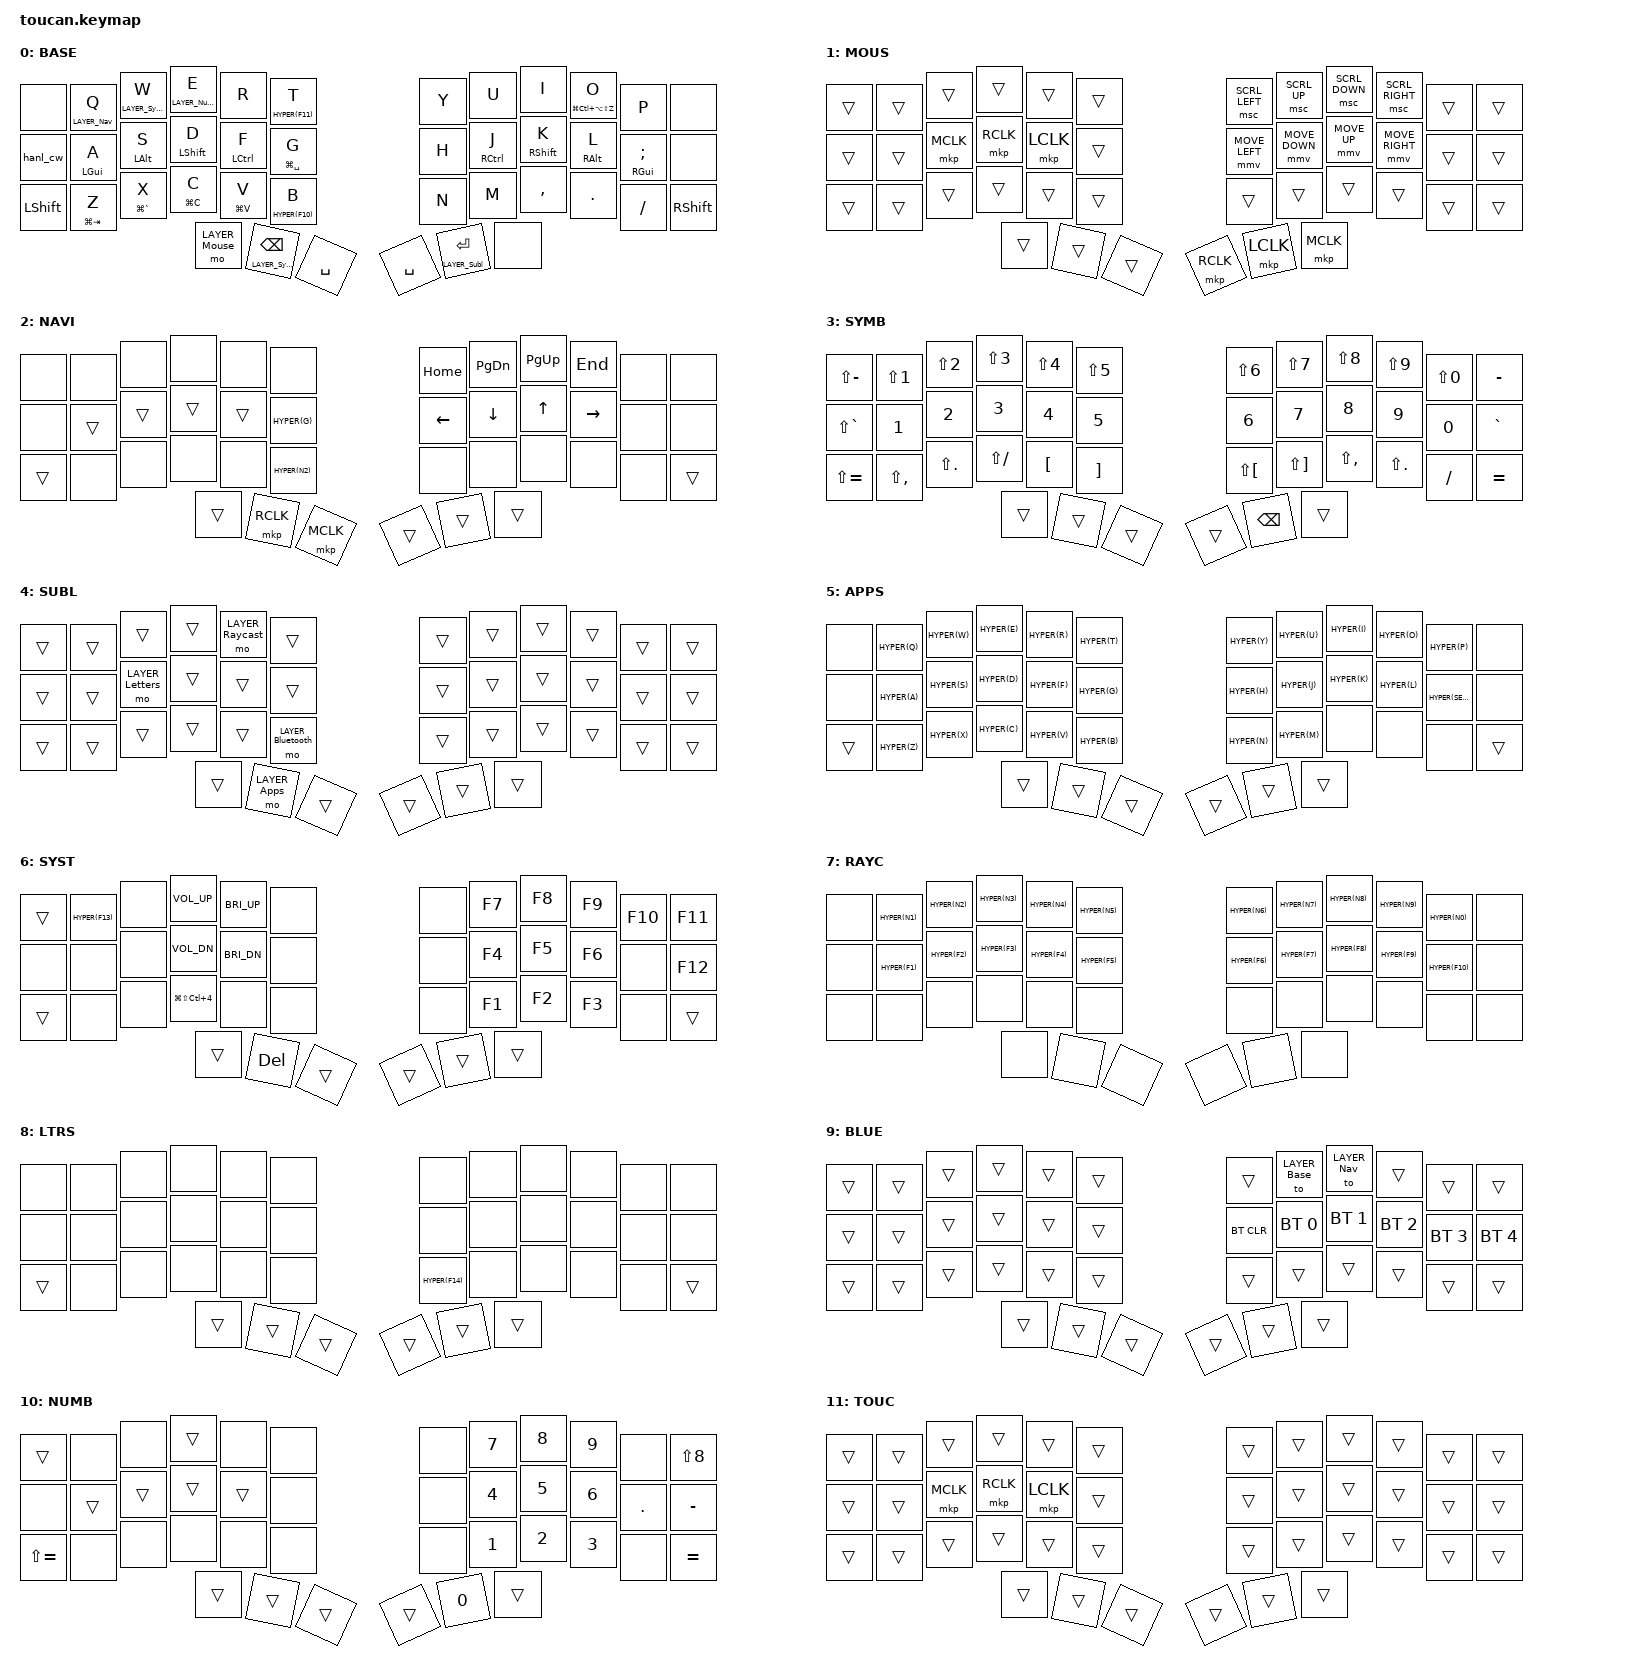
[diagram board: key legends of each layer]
#include <behaviors.dtsi>
#include <dt-bindings/zmk/keys.h>
#include <dt-bindings/zmk/bt.h>
#include <dt-bindings/zmk/outputs.h>

// urob-style key mouse defaults. Must be defined before pointing.h.
#define ZMK_POINTING_DEFAULT_MOVE_VAL 1400  // 포인터 최고 속도 천장(upstream 기본 600에서 상향)
#define ZMK_POINTING_DEFAULT_SCRL_VAL 20

// Adding pointing.h to be able to right and middle click
// https://zmk.dev/docs/keymaps/behaviors/mouse-emulation
#include <dt-bindings/zmk/pointing.h>

// 레이어 인덱스 = keymap{} 안 layer 노드의 물리적 순서. 트랙패드 입력 파이프라인
// 오버라이드는 이 파일 하단에서 LAYER_* define을 그대로 참조하므로(dtsi는 upstream
// pristine), 레이어 순서를 바꿔도 자동 추종된다 — 더 이상 dtsi 동기가 필요 없다.
#define LAYER_Base 0
#define LAYER_Mouse 1
#define LAYER_Nav 2
#define LAYER_Symb 3
#define LAYER_Subl 4
#define LAYER_Apps 5
#define LAYER_Systm 6
#define LAYER_Raycast 7
#define LAYER_Letters 8
#define LAYER_Bluetooth 9
#define LAYER_Numpad 10
#define LAYER_Touch 11   // 트랙패드 접촉 중 자동(is_touching_processor가 &mo로 켬)

// Hyper = Shift + Ctrl + Alt + Cmd 합성 modifier.
// Hammerspoon hyper_actions.lua가 OS-level listener로 받음 (kanata 측도 동일 조합 emit).
#define HYPER(k) LS(LC(LA(LG(k))))

// Home row mod positional (urob 패턴). hold는 반대손·엄지에서만 발동, 같은손
// 키가 뒤따르면 강제 탭(오발 차단). kanata $hrm-lkeys/$hrm-rkeys와 동일 의미.
//
// ZMK는 이 속성에 키 이름을 못 받음 → 위치 인덱스 필수. 인덱스 = Base 레이어
// binding 나열 순서(0~41). 행 단위로 분해해 물리 위치와 대조 가능하게 함:
//   top    L: 0  1  2  3  4  5     R:  6  7  8  9 10 11
//   home   L:12 13 14 15 16 17     R: 18 19 20 21 22 23
//   bottom L:24 25 26 27 28 29     R: 30 31 32 33 34 35
//   thumb  L:36 37 38              R: 39 40 41
#define KEYS_LT  0  1  2  3  4  5
#define KEYS_LH 12 13 14 15 16 17
#define KEYS_LB 24 25 26 27 28 29
#define KEYS_RT  6  7  8  9 10 11
#define KEYS_RH 18 19 20 21 22 23
#define KEYS_RB 30 31 32 33 34 35
#define KEYS_L  KEYS_LT KEYS_LH KEYS_LB
#define KEYS_R  KEYS_RT KEYS_RH KEYS_RB
#define THUMBS  36 37 38 39 40 41

/ {
    behaviors {
        // Home row mods 좌측(a/s/d/f). kanata HRM과 1:1: balanced + tapping-term
        // =$hrm-tap(280) + quick-tap=$hrm-qt(300) + require-prior-idle=$hrm-pi(150)
        // + positional(같은손 강제탭 = $hrm-lkeys). 값 변경 시 mac-common.kbd와 동기.
        hrm_l: hrm_l {
            compatible = "zmk,behavior-hold-tap";
            #binding-cells = <2>;
            flavor = "balanced";
            tapping-term-ms = <280>;
            quick-tap-ms = <300>;
            require-prior-idle-ms = <150>;
            hold-trigger-key-positions = <KEYS_R THUMBS>;
            hold-trigger-on-release;
            bindings = <&kp>, <&kp>;
        };

        // Home row mods 우측(j/k/l/;). kanata HRM과 1:1: balanced + tapping-term
        // =$hrm-tap(280) + quick-tap=$hrm-qt(300) + require-prior-idle=$hrm-pi(150)
        // + positional(같은손 강제탭 = $hrm-rkeys). 값 변경 시 mac-common.kbd와 동기.
        hrm_r: hrm_r {
            compatible = "zmk,behavior-hold-tap";
            #binding-cells = <2>;
            flavor = "balanced";
            tapping-term-ms = <280>;
            quick-tap-ms = <300>;
            require-prior-idle-ms = <150>;
            hold-trigger-key-positions = <KEYS_L THUMBS>;
            hold-trigger-on-release;
            bindings = <&kp>, <&kp>;
        };

        // Homerow Mod for the right pinky - TailorKey (influenced).
        hrm_w: hrm_w {
            compatible = "zmk,behavior-hold-tap";
            #binding-cells = <2>;
            tapping-term-ms = <200>;
            bindings = <&kp>, <&kp>;
            flavor = "tap-preferred";
            quick-tap-ms = <200>;
            require-prior-idle-ms = <0>;
            retro-tap;
        };

        my_mt: my_mt {
            compatible = "zmk,behavior-hold-tap";
            #binding-cells = <2>;
            flavor = "tap-preferred";
            tapping-term-ms = <300>;
            bindings = <&kp>, <&kp>;
        };

        my_lt: my_lt {
            compatible = "zmk,behavior-hold-tap";
            #binding-cells = <2>;
            flavor = "tap-preferred";
            tapping-term-ms = <300>;
            bindings = <&mo>, <&kp>;
        };

        // capslock 키(a 좌측 바깥키): 탭=한/영(Shift+Space emit) / shift+탭=대문자 모드.
        // &caps_word는 지정 키 외를 누르면 스스로 풀리고, shift+탭을 다시 하면 수동 해제된다.
        // #binding-cells=0이라 키맵에서는 인자 없이 &hanl_cw로만 쓴다(인자를 붙이면 빌드 에러).
        //
        // mod-morph는 타이머 없이 현재 모디파이어만 보고 즉시 분기한다 — 탭은 press 즉시 emit.
        // tap-dance를 쓰면 안 되는 이유: 1탭 확정이 미뤄져 Shift+Space가 다음 문자와 거의 동시에
        // 나가고, macOS IME 전환은 비동기라 그 문자가 이전 언어로 입력된다(2026-07-30~08-11 회귀).
        // shift가 caps_word를 해제하지 않는 건 ignore-modifiers 기본값 덕이다 — 끄면 이 분기가 깨진다.
        // kanata @mhanl (fork @mhgul @mcapw (lsft rsft)) 미러.
        hanl_cw: hanl_cw {
            compatible = "zmk,behavior-mod-morph";
            #binding-cells = <0>;
            bindings = <&kp LS(SPACE)>, <&caps_word>;
            mods = <(MOD_LSFT|MOD_RSFT)>;
        };

        my_mtw: my_mtw {
            compatible = "zmk,behavior-hold-tap";
            #binding-cells = <2>;
            flavor = "tap-preferred";
            tapping-term-ms = <200>;
            bindings = <&kp>, <&kp>;
        };

        // hold-tap with `&once` macro on hold: hold emits keycode 1회 (no OS key-repeat); tap is plain &kp.
        // kanata의 (tap-hold ... (macro M-x))와 동등. 사용 syntax는 &my_mt와 동일: &htm <HOLD-ARG> <TAP-ARG>.
        htm: htm {
            compatible = "zmk,behavior-hold-tap";
            #binding-cells = <2>;
            flavor = "tap-preferred";
            tapping-term-ms = <300>;
            bindings = <&once>, <&kp>;
        };

    };
};

/ {

    macros {
        // Once-emit any modifier-encoded keycode via &macro_tap &kp X.
        // 사용 예: &once LG(V) → Cmd+V 1회. &once HYPER(F15) → Hyper+F15 1회.
        // 어떤 modifier 조합(1~4-modifier)이든 단일 매크로로 처리. modifier 늘어도 매크로 추가 불필요.
        once: once {
            label = "ZM_once";
            compatible = "zmk,behavior-macro-one-param";
            #binding-cells = <1>;
            bindings
                = <&macro_param_1to1>
                , <&macro_tap &kp MACRO_PLACEHOLDER>
                ;
        };
    };
};

// Key mouse tuning from urob/zmk-config, excluding NAV/FN layer-dependent
// warp/precision listeners because Toucan has different layer semantics.
&mmv {
    acceleration-exponent = <1>;
    time-to-max-speed-ms = <500>;
    delay-ms = <0>;
};

&msc {
    acceleration-exponent = <0>;
    time-to-max-speed-ms = <300>;
    delay-ms = <0>;
};

// ── 트랙패드 (Azoteq TPS43) ───────────────────────────────────────────────────
// shield의 boards/shields/toucan/toucan.dtsi 노드를 여기서 덮어쓴다 → dtsi는 upstream
// pristine으로 두고 upstream 재머지를 항상 fast-forward로 유지한다.
// dts 결합 순서: board.dts → shield .overlay(+toucan.dtsi) → 이 keymap. 뒤가 이긴다.

&trackpad_listener {
    // upstream의 scroller 자식 노드(레이어 누른 채 드래그=스크롤)를 제거한다.
    //  (1) v2는 하드웨어가 2-finger 스크롤을 직접 내므로 역할이 중복이고,
    //  (2) layer override가 0개여야 is_touching_processor가 안전하다 —
    //      input_listener.c의 filter_with_input_config는 override가 매칭되면
    //      process-next(기본 false)가 없는 한 base 체인을 통째로 건너뛴다. 그러면
    //      손가락을 뗄 때의 BTN_TOUCH=0이 base에 있는 is_touching_processor에
    //      도달하지 못해 &mo의 release가 유실되고 레이어가 영구 latch된다.
    input-processors = <&zip_xy_scaler 100 100>
                     , <&zip_scroll_scaler 1 20>
                     , <&zip_zoom_mapper>
                     , <&is_touching_processor>
                     , <&swipe_button_mapper>;
    /delete-node/ scroller;
};

// upstream 기본값은 &mo 4 = upstream 키맵의 mouse 레이어. 이 키맵의 4는 LAYER_Subl이라
// 의미가 다르므로 전용 LAYER_Touch로 돌린다.
&is_touching_processor {
    bindings = <&mo LAYER_Touch>;
};

// 3-finger swipe N/E/S/W. 방향만 Hyper로 흘리고 무엇을 할지는 hyper_actions.lua가 단독 결정
// → 동작을 바꿔도 재플래시 불요. upstream 기본값 LC(LG(arrow))는 이 맥에서 심볼릭 핫키
// 32(⌃↑)·79/81(⌃←/⌃→)이 꺼져 있어 무동작이다.
// &kp가 아니라 &once인 이유: 드라이버가 press/release를 0ms 간격으로 연달아 낸다
// (tps43.c:351-352) → &kp면 keydown/keyup 간격이 0이라 소비자가 놓칠 수 있다.
// bindings 길이는 codes 4개와 같아야 한다(ZMK BUILD_ASSERT).
&swipe_button_mapper {
    bindings = <&once HYPER(F15)>    // N : 위
             , <&once HYPER(F16)>    // E : 오른쪽
             , <&once HYPER(F17)>    // S : 아래
             , <&once HYPER(F18)>;   // W : 왼쪽
};

// pinch zoom은 칩 레벨에서 꺼져 있다(toucan_right.overlay의 `zoom;` 주석 처리) —
// 2-finger 스크롤이 ZOOM으로 오분류되어 통째로 먹히는 문제 때문. &zip_zoom_mapper는
// 체인에 남겨둬서 overlay의 `zoom;` 한 줄만 되살리면 다시 동작하게 한다.
// 되살릴 경우 바인딩은 upstream 그대로 ⌘- / ⌘= 직결(Hammerspoon 왕복 부적합 —
// 핀치 1회에 press/release 버스트가 여러 번 나간다).

// 36키(Ferris) 스타일 콤보 튜닝. 바깥 키는 그대로 두고 안쪽 손가락 쌍을 추가 액세스 경로로.
// timeout 35ms = 두 키 동시 누름 창(빠른 롤 중 오발 차단). prior-idle 125ms = 직전 입력 후
// 그만큼 쉬어야 첫 콤보 키 인식(연속 타이핑 중 오인식 차단). HRM(s/d·k/l)과 공존하는 핵심 값.
#define TRANSITION_COMBO_TIMEOUT_MS 35
#define TRANSITION_COMBO_PRIOR_IDLE_MS 125

/ {
    combos {
        compatible = "zmk,combos";

        // ===== Base 레이어: 바깥키 기능을 안쪽 쌍으로 (바깥키도 그대로 유지) =====
        combo_tab {
            timeout-ms = <TRANSITION_COMBO_TIMEOUT_MS>;
            require-prior-idle-ms = <TRANSITION_COMBO_PRIOR_IDLE_MS>;
            key-positions = <2 3>;          // W+E
            layers = <LAYER_Base>;
            bindings = <&kp TAB>;
        };
        combo_esc {
            timeout-ms = <TRANSITION_COMBO_TIMEOUT_MS>;
            require-prior-idle-ms = <TRANSITION_COMBO_PRIOR_IDLE_MS>;
            key-positions = <14 15>;        // S+D
            layers = <LAYER_Base>;
            bindings = <&kp ESC>;           // 평문 ESC (nav=q-hold, kanata (s d) esc와 대칭)
        };
        combo_copy {
            timeout-ms = <TRANSITION_COMBO_TIMEOUT_MS>;
            require-prior-idle-ms = <TRANSITION_COMBO_PRIOR_IDLE_MS>;
            key-positions = <26 27>;        // X+C
            layers = <LAYER_Base>;
            bindings = <&kp LG(C)>;
        };
        combo_paste {
            timeout-ms = <TRANSITION_COMBO_TIMEOUT_MS>;
            require-prior-idle-ms = <TRANSITION_COMBO_PRIOR_IDLE_MS>;
            key-positions = <27 28>;        // C+V
            layers = <LAYER_Base>;
            bindings = <&kp LG(V)>;
        };
        combo_cut {
            timeout-ms = <TRANSITION_COMBO_TIMEOUT_MS>;
            require-prior-idle-ms = <TRANSITION_COMBO_PRIOR_IDLE_MS>;
            key-positions = <26 28>;        // X+V (C 건너뜀 — 비인접)
            layers = <LAYER_Base>;
            bindings = <&kp LG(X)>;
        };
        combo_eql {
            timeout-ms = <TRANSITION_COMBO_TIMEOUT_MS>;
            require-prior-idle-ms = <TRANSITION_COMBO_PRIOR_IDLE_MS>;
            key-positions = <8 9>;          // I+O → =
            layers = <LAYER_Base>;
            bindings = <&kp EQUAL>;
        };
        combo_sqt {
            timeout-ms = <TRANSITION_COMBO_TIMEOUT_MS>;
            require-prior-idle-ms = <TRANSITION_COMBO_PRIOR_IDLE_MS>;
            key-positions = <20 21>;        // K+L
            layers = <LAYER_Base>;
            bindings = <&kp SQT>;
        };
        combo_grv {
            timeout-ms = <TRANSITION_COMBO_TIMEOUT_MS>;
            require-prior-idle-ms = <TRANSITION_COMBO_PRIOR_IDLE_MS>;
            key-positions = <19 20>;        // J+K → ` (backtick)
            layers = <LAYER_Base>;
            bindings = <&kp GRAVE>;
        };
        combo_colon {
            timeout-ms = <TRANSITION_COMBO_TIMEOUT_MS>;
            require-prior-idle-ms = <TRANSITION_COMBO_PRIOR_IDLE_MS>;
            key-positions = <21 22>;        // L+; → :
            layers = <LAYER_Base>;
            bindings = <&kp LS(SEMI)>;
        };
        combo_minus {
            timeout-ms = <TRANSITION_COMBO_TIMEOUT_MS>;
            require-prior-idle-ms = <TRANSITION_COMBO_PRIOR_IDLE_MS>;
            key-positions = <7 8>;          // U+I → -
            layers = <LAYER_Base>;
            bindings = <&kp MINUS>;
        };
        combo_lbkt {
            timeout-ms = <TRANSITION_COMBO_TIMEOUT_MS>;
            require-prior-idle-ms = <TRANSITION_COMBO_PRIOR_IDLE_MS>;
            key-positions = <31 32>;        // M+, → [
            layers = <LAYER_Base>;
            bindings = <&kp LBKT>;
        };
        combo_rbkt {
            timeout-ms = <TRANSITION_COMBO_TIMEOUT_MS>;
            require-prior-idle-ms = <TRANSITION_COMBO_PRIOR_IDLE_MS>;
            key-positions = <32 33>;        // ,+. → ]
            layers = <LAYER_Base>;
            bindings = <&kp RBKT>;
        };
        combo_bslh {
            timeout-ms = <TRANSITION_COMBO_TIMEOUT_MS>;
            require-prior-idle-ms = <TRANSITION_COMBO_PRIOR_IDLE_MS>;
            key-positions = <8 21>;         // I+L → \ (o+l에서 이동)
            layers = <LAYER_Base>;
            bindings = <&kp BSLH>;
        };
        combo_cmdtab {
            timeout-ms = <TRANSITION_COMBO_TIMEOUT_MS>;
            require-prior-idle-ms = <TRANSITION_COMBO_PRIOR_IDLE_MS>;
            key-positions = <25 26>;        // Z+X → Cmd+Tab (z-hold과 동일, 추가 경로)
            layers = <LAYER_Base>;
            bindings = <&kp LG(TAB)>;
        };
        combo_qmark {
            timeout-ms = <TRANSITION_COMBO_TIMEOUT_MS>;
            require-prior-idle-ms = <TRANSITION_COMBO_PRIOR_IDLE_MS>;
            key-positions = <33 34>;        // .+/ → ?
            layers = <LAYER_Base>;
            bindings = <&kp LS(FSLH)>;
        };

        // ===== Symb 레이어: base 콤보의 shifted 버전을 같은 쌍에 (shift 없이 sym에서 직접) =====
        combo_sym_ui {
            timeout-ms = <TRANSITION_COMBO_TIMEOUT_MS>;
            require-prior-idle-ms = <TRANSITION_COMBO_PRIOR_IDLE_MS>;
            key-positions = <7 8>;          // U+I → _
            layers = <LAYER_Symb>;
            bindings = <&kp LS(MINUS)>;
        };
        combo_sym_io {
            timeout-ms = <TRANSITION_COMBO_TIMEOUT_MS>;
            require-prior-idle-ms = <TRANSITION_COMBO_PRIOR_IDLE_MS>;
            key-positions = <8 9>;          // I+O → +
            layers = <LAYER_Symb>;
            bindings = <&kp LS(EQUAL)>;
        };
        combo_sym_il {
            timeout-ms = <TRANSITION_COMBO_TIMEOUT_MS>;
            require-prior-idle-ms = <TRANSITION_COMBO_PRIOR_IDLE_MS>;
            key-positions = <8 21>;         // I+L → |
            layers = <LAYER_Symb>;
            bindings = <&kp LS(BSLH)>;
        };
        combo_sym_jk {
            timeout-ms = <TRANSITION_COMBO_TIMEOUT_MS>;
            require-prior-idle-ms = <TRANSITION_COMBO_PRIOR_IDLE_MS>;
            key-positions = <19 20>;        // J+K → ~ (틸트)
            layers = <LAYER_Symb>;
            bindings = <&kp LS(GRAVE)>;
        };
        combo_sym_kl {
            timeout-ms = <TRANSITION_COMBO_TIMEOUT_MS>;
            require-prior-idle-ms = <TRANSITION_COMBO_PRIOR_IDLE_MS>;
            key-positions = <20 21>;        // K+L → "
            layers = <LAYER_Symb>;
            bindings = <&kp LS(SQT)>;
        };
        combo_sym_xc {
            timeout-ms = <TRANSITION_COMBO_TIMEOUT_MS>;
            require-prior-idle-ms = <TRANSITION_COMBO_PRIOR_IDLE_MS>;
            key-positions = <26 27>;        // X+C → + (유지, i+o와 중복)
            layers = <LAYER_Symb>;
            bindings = <&kp LS(EQUAL)>;
        };
        combo_sym_mc {
            timeout-ms = <TRANSITION_COMBO_TIMEOUT_MS>;
            require-prior-idle-ms = <TRANSITION_COMBO_PRIOR_IDLE_MS>;
            key-positions = <31 32>;        // M+, → {
            layers = <LAYER_Symb>;
            bindings = <&kp LS(LBKT)>;
        };
        combo_sym_cd {
            timeout-ms = <TRANSITION_COMBO_TIMEOUT_MS>;
            require-prior-idle-ms = <TRANSITION_COMBO_PRIOR_IDLE_MS>;
            key-positions = <32 33>;        // ,+. → }
            layers = <LAYER_Symb>;
            bindings = <&kp LS(RBKT)>;
        };
    };
};

/ {

    keymap {
        compatible = "zmk,keymap";

        layer_Base {
            display-name = "BASE";
            bindings = <
//    ┌──────────┬──────────────────────┬────────────────────────┬─────────────────────────┬──────────────────┬──────────────────────┐               ┌─────────────────────┬───────────────┬───────────────┬────────────────────────────────────┬───────────────┬──────┐
//    │          │ &my_lt laltYER_Nav Q │ &my_lt laltYER_Systm W │ &my_lt laltYER_Numpad E │        R         │  &htm HYPER(f11) T   │               │          Y          │       U       │       I       │ &my_mt lgui(lctl(lalt(lsft(Z)))) O │       P       │      │
//    ├──────────┼──────────────────────┼────────────────────────┼─────────────────────────┼──────────────────┼──────────────────────┤               ├─────────────────────┼───────────────┼───────────────┼────────────────────────────────────┼───────────────┼──────┤
//    │ &hanl_cw │    &hrm_l lgui A     │     &hrm_l lalt S      │      &hrm_l lsft D      │  &hrm_l lctl F   │   &htm lgui(spc) G   │               │          H          │ &hrm_r rctl J │ &hrm_r rsft K │           &hrm_r ralt L            │ &hrm_r rgui ; │      │
//    ├──────────┼──────────────────────┼────────────────────────┼─────────────────────────┼──────────────────┼──────────────────────┤               ├─────────────────────┼───────────────┼───────────────┼────────────────────────────────────┼───────────────┼──────┤
//    │   lsft   │   &htm lgui(tab) Z   │     &htm lgui(`) X     │     &htm lgui(C) C      │  &htm lgui(V) V  │  &htm HYPER(f10) B   │               │          N          │       M       │       ,       │                 .                  │       /       │ rsft │
//    └──────────┴──────────────────────┴────────────────────────┴─────────────────────────┼──────────────────┼──────────────────────┼─────┐   ┌─────┼─────────────────────┼───────────────┼───────────────┴────────────────────────────────────┴───────────────┴──────┘
//                                                                                         │ mo laltYER_Mouse │ lt laltYER_Symb bspc │ spc │   │ spc │ lt laltYER_Subl ent │               │
//                                                                                         └──────────────────┴──────────────────────┴─────┘   └─────┴─────────────────────┴───────────────┘
  &none       &my_lt LAYER_Nav Q   &my_lt LAYER_Systm W   &my_lt LAYER_Numpad E   &kp R             &htm HYPER(F11) T                                 &kp Y                &kp U            &kp I            &my_mt LG(LC(LA(LS(Z)))) O   &kp P              &none
  &hanl_cw    &hrm_l LGUI A        &hrm_l LALT S          &hrm_l LSHFT D          &hrm_l LCTRL F    &htm LG(SPACE) G                                  &kp H                &hrm_r RCTRL J   &hrm_r RSHFT K   &hrm_r RALT L                &hrm_r RGUI SEMI   &none
  &kp LSHFT   &htm LG(TAB) Z       &htm LG(GRAVE) X       &htm LG(C) C            &htm LG(V) V      &htm HYPER(F10) B                                 &kp N                &kp M            &kp COMMA        &kp DOT                      &kp FSLH           &kp RSHFT
                                                                                  &mo LAYER_Mouse   &lt LAYER_Symb BSPC   &kp SPACE       &kp SPACE   &lt LAYER_Subl RET   &none
            >;
        };

        layer_Mouse {
            display-name = "MOUS";
            // 좌엄지 최외곽 hold로 진입(momentary). 좌 home row = 기존 클릭 유지.
            // 우측 하프 = vim-like key mouse cluster. 트랙패드는 포인터 모드 유지.
            bindings = <
//    ┌─────┬─────┬──────┬──────┬──────┬─────┐                ┌────────────────┬────────────────┬────────────────┬────────────────┬─────┬─────┐
//    │     │     │      │      │      │     │                │ &msc SCRL_left │  &msc SCRL_up  │ &msc SCRL_down │ &msc SCRL_rght │     │     │
//    ├─────┼─────┼──────┼──────┼──────┼─────┤                ├────────────────┼────────────────┼────────────────┼────────────────┼─────┼─────┤
//    │     │     │ mclk │ rclk │ lclk │     │                │ &mmv MOVE_left │ &mmv MOVE_down │  &mmv MOVE_up  │ &mmv MOVE_rght │     │     │
//    ├─────┼─────┼──────┼──────┼──────┼─────┤                ├────────────────┼────────────────┼────────────────┼────────────────┼─────┼─────┤
//    │     │     │      │      │      │     │                │                │                │                │                │     │     │
//    └─────┴─────┴──────┴──────┼──────┼─────┼─────┐   ┌──────┼────────────────┼────────────────┼────────────────┴────────────────┴─────┴─────┘
//                              │      │     │     │   │ rclk │      lclk      │      mclk      │
//                              └──────┴─────┴─────┘   └──────┴────────────────┴────────────────┘
  &trans   &trans   &trans      &trans      &trans      &trans                            &msc SCRL_LEFT   &msc SCRL_UP     &msc SCRL_DOWN   &msc SCRL_RIGHT   &trans   &trans
  &trans   &trans   &mkp MCLK   &mkp RCLK   &mkp LCLK   &trans                            &mmv MOVE_LEFT   &mmv MOVE_DOWN   &mmv MOVE_UP     &mmv MOVE_RIGHT   &trans   &trans
  &trans   &trans   &trans      &trans      &trans      &trans                            &trans           &trans           &trans           &trans            &trans   &trans
                                            &trans      &trans   &trans       &mkp RCLK   &mkp LCLK        &mkp MCLK
            >;
        };

        layer_Nav {
            display-name = "NAVI";
            bindings = <
//    ┌─────┬─────┬─────┬─────┬─────┬──────────┐                ┌──────┬──────┬──────┬──────┬─────┬─────┐
//    │     │     │     │     │     │          │                │ home │ pgdn │ pgup │ end  │     │     │
//    ├─────┼─────┼─────┼─────┼─────┼──────────┤                ├──────┼──────┼──────┼──────┼─────┼─────┤
//    │     │     │     │     │     │ HYPER(G) │                │ left │ down │  up  │ rght │     │     │
//    ├─────┼─────┼─────┼─────┼─────┼──────────┤                ├──────┼──────┼──────┼──────┼─────┼─────┤
//    │     │     │     │     │     │ HYPER(2) │                │      │      │      │      │     │     │
//    └─────┴─────┴─────┴─────┼─────┼──────────┼──────┐   ┌─────┼──────┼──────┼──────┴──────┴─────┴─────┘
//                            │     │   rclk   │ mclk │   │     │      │      │
//                            └─────┴──────────┴──────┘   └─────┴──────┴──────┘
  &none    &none    &none    &none    &none    &none                                    &kp HOME   &kp PG_DN   &kp PG_UP   &kp END     &none   &none
  &none    &trans   &trans   &trans   &trans   &kp HYPER(G)                             &kp LEFT   &kp DOWN    &kp UP      &kp RIGHT   &none   &none
  &trans   &none    &none    &none    &none    &kp HYPER(N2)                            &none      &none       &none       &none       &none   &trans
                                      &trans   &mkp RCLK       &mkp MCLK       &trans   &trans     &trans
            >;
        };

        layer_Symb {
            display-name = "SYMB";
            bindings = <
//    ┌─────────┬─────────┬─────────┬─────────┬─────────┬─────────┐               ┌─────────┬─────────┬─────────┬─────────┬─────────┬───┐
//    │ lsft(-) │ lsft(1) │ lsft(2) │ lsft(3) │ lsft(4) │ lsft(5) │               │ lsft(6) │ lsft(7) │ lsft(8) │ lsft(9) │ lsft(0) │ - │
//    ├─────────┼─────────┼─────────┼─────────┼─────────┼─────────┤               ├─────────┼─────────┼─────────┼─────────┼─────────┼───┤
//    │ lsft(`) │    1    │    2    │    3    │    4    │    5    │               │    6    │    7    │    8    │    9    │    0    │ ` │
//    ├─────────┼─────────┼─────────┼─────────┼─────────┼─────────┤               ├─────────┼─────────┼─────────┼─────────┼─────────┼───┤
//    │ lsft(=) │ lsft(,) │ lsft(.) │ lsft(/) │    [    │    ]    │               │ lsft([) │ lsft(]) │ lsft(,) │ lsft(.) │    /    │ = │
//    └─────────┴─────────┴─────────┴─────────┼─────────┼─────────┼─────┐   ┌─────┼─────────┼─────────┼─────────┴─────────┴─────────┴───┘
//                                            │         │         │     │   │     │  bspc   │         │
//                                            └─────────┴─────────┴─────┘   └─────┴─────────┴─────────┘
  &kp LS(MINUS)   &kp LS(N1)      &kp LS(N2)    &kp LS(N3)     &kp LS(N4)   &kp LS(N5)                         &kp LS(N6)     &kp LS(N7)     &kp LS(N8)      &kp LS(N9)    &kp LS(N0)   &kp MINUS
  &kp LS(GRAVE)   &kp N1          &kp N2        &kp N3         &kp N4       &kp N5                             &kp N6         &kp N7         &kp N8          &kp N9        &kp N0       &kp GRAVE
  &kp LS(EQUAL)   &kp LS(COMMA)   &kp LS(DOT)   &kp LS(FSLH)   &kp LBKT     &kp RBKT                           &kp LS(LBKT)   &kp LS(RBKT)   &kp LS(COMMA)   &kp LS(DOT)   &kp FSLH     &kp EQUAL
                                                               &trans       &trans       &trans       &trans   &kp BSPC       &trans
            >;
        };

        layer_Subl {
            display-name = "SUBL";
            bindings = <
//    ┌─────┬─────┬────────────────────┬─────┬────────────────────┬──────────────────────┐               ┌─────┬─────┬─────┬─────┬─────┬─────┐
//    │     │     │                    │     │ mo laltYER_Raycast │                      │               │     │     │     │     │     │     │
//    ├─────┼─────┼────────────────────┼─────┼────────────────────┼──────────────────────┤               ├─────┼─────┼─────┼─────┼─────┼─────┤
//    │     │     │ mo laltYER_Letters │     │                    │                      │               │     │     │     │     │     │     │
//    ├─────┼─────┼────────────────────┼─────┼────────────────────┼──────────────────────┤               ├─────┼─────┼─────┼─────┼─────┼─────┤
//    │     │     │                    │     │                    │ mo laltYER_Bluetooth │               │     │     │     │     │     │     │
//    └─────┴─────┴────────────────────┴─────┼────────────────────┼──────────────────────┼─────┐   ┌─────┼─────┼─────┼─────┴─────┴─────┴─────┘
//                                           │                    │   mo laltYER_Apps    │     │   │     │     │     │
//                                           └────────────────────┴──────────────────────┴─────┘   └─────┴─────┴─────┘
  &trans   &trans   &trans              &trans   &mo LAYER_Raycast   &trans                                      &trans   &trans   &trans   &trans   &trans   &trans
  &trans   &trans   &mo LAYER_Letters   &trans   &trans              &trans                                      &trans   &trans   &trans   &trans   &trans   &trans
  &trans   &trans   &trans              &trans   &trans              &mo LAYER_Bluetooth                         &trans   &trans   &trans   &trans   &trans   &trans
                                                 &trans              &mo LAYER_Apps        &trans       &trans   &trans   &trans
            >;
        };

        layer_Apps {
            display-name = "APPS";
            // positional Hyper passthrough (영구 동결): 각 글자 키 = 자기 문자의 Hyper emit.
            // 앱 매핑은 Hammerspoon hyper_actions.lua apps 테이블이 단독 관리 — 앱 churn 시 이 레이어 수정 불요.
            // tab = 사망(&none, 2026-08-13 AltTab.app 제거), ; = Ghostty quick-term (글자 영역 밖이라 유지).
            bindings = <
//    ┌─────┬──────────┬──────────┬──────────┬──────────┬──────────┐               ┌──────────┬──────────┬──────────┬──────────┬──────────┬─────┐
//    │     │ HYPER(Q) │ HYPER(W) │ HYPER(E) │ HYPER(R) │ HYPER(T) │               │ HYPER(Y) │ HYPER(U) │ HYPER(I) │ HYPER(O) │ HYPER(P) │     │
//    ├─────┼──────────┼──────────┼──────────┼──────────┼──────────┤               ├──────────┼──────────┼──────────┼──────────┼──────────┼─────┤
//    │     │ HYPER(A) │ HYPER(S) │ HYPER(D) │ HYPER(F) │ HYPER(G) │               │ HYPER(H) │ HYPER(J) │ HYPER(K) │ HYPER(L) │ HYPER(;) │     │
//    ├─────┼──────────┼──────────┼──────────┼──────────┼──────────┤               ├──────────┼──────────┼──────────┼──────────┼──────────┼─────┤
//    │     │ HYPER(Z) │ HYPER(X) │ HYPER(C) │ HYPER(V) │ HYPER(B) │               │ HYPER(N) │ HYPER(M) │          │          │          │     │
//    └─────┴──────────┴──────────┴──────────┼──────────┼──────────┼─────┐   ┌─────┼──────────┼──────────┼──────────┴──────────┴──────────┴─────┘
//                                           │          │          │     │   │     │          │          │
//                                           └──────────┴──────────┴─────┘   └─────┴──────────┴──────────┘
  &none    &kp HYPER(Q)   &kp HYPER(W)   &kp HYPER(E)   &kp HYPER(R)   &kp HYPER(T)                         &kp HYPER(Y)   &kp HYPER(U)   &kp HYPER(I)   &kp HYPER(O)   &kp HYPER(P)      &none
  &none    &kp HYPER(A)   &kp HYPER(S)   &kp HYPER(D)   &kp HYPER(F)   &kp HYPER(G)                         &kp HYPER(H)   &kp HYPER(J)   &kp HYPER(K)   &kp HYPER(L)   &kp HYPER(SEMI)   &none
  &trans   &kp HYPER(Z)   &kp HYPER(X)   &kp HYPER(C)   &kp HYPER(V)   &kp HYPER(B)                         &kp HYPER(N)   &kp HYPER(M)   &none          &none          &none             &trans
                                                        &trans         &trans         &trans       &trans   &trans         &trans
            >;
        };

        layer_Systm {
            display-name = "SYST";
            bindings = <
//    ┌─────┬────────────┬─────┬─────────────────────┬──────┬─────┐               ┌─────┬─────┬────┬────┬─────┬─────┐
//    │     │ HYPER(f13) │     │        volu         │ bri+ │     │               │     │ f7  │ f8 │ f9 │ f10 │ f11 │
//    ├─────┼────────────┼─────┼─────────────────────┼──────┼─────┤               ├─────┼─────┼────┼────┼─────┼─────┤
//    │     │            │     │        vold         │ bri- │     │               │     │ f4  │ f5 │ f6 │     │ f12 │
//    ├─────┼────────────┼─────┼─────────────────────┼──────┼─────┤               ├─────┼─────┼────┼────┼─────┼─────┤
//    │     │            │     │ lgui(lsft(lctl(4))) │      │     │               │     │ f1  │ f2 │ f3 │     │     │
//    └─────┴────────────┴─────┴─────────────────────┼──────┼─────┼─────┐   ┌─────┼─────┼─────┼────┴────┴─────┴─────┘
//                                                   │      │ del │     │   │     │     │     │
//                                                   └──────┴─────┴─────┘   └─────┴─────┴─────┘
  &trans   &kp HYPER(F13)   &none   &kp K_VOL_UP         &kp C_BRI_UP   &none                           &none    &kp F7   &kp F8   &kp F9   &kp F10   &kp F11
  &none    &none            &none   &kp K_VOL_DN         &kp C_BRI_DN   &none                           &none    &kp F4   &kp F5   &kp F6   &none     &kp F12
  &trans   &none            &none   &kp LG(LS(LC(N4)))   &none          &none                           &none    &kp F1   &kp F2   &kp F3   &none     &trans
                                                         &trans         &kp DEL   &trans       &trans   &trans   &trans
            >;
        };

        layer_Raycast {
            display-name = "RAYC";
            // positional Hyper passthrough (영구 동결): home row = Hyper+F1~F10, top row = Hyper+1~0.
            // deeplink 매핑은 Hammerspoon hyper_actions.lua raycast_extensions 테이블이 단독 관리.
            bindings = <
//    ┌─────┬───────────┬───────────┬───────────┬───────────┬───────────┐               ┌───────────┬───────────┬───────────┬───────────┬────────────┬─────┐
//    │     │ HYPER(1)  │ HYPER(2)  │ HYPER(3)  │ HYPER(4)  │ HYPER(5)  │               │ HYPER(6)  │ HYPER(7)  │ HYPER(8)  │ HYPER(9)  │  HYPER(0)  │     │
//    ├─────┼───────────┼───────────┼───────────┼───────────┼───────────┤               ├───────────┼───────────┼───────────┼───────────┼────────────┼─────┤
//    │     │ HYPER(f1) │ HYPER(f2) │ HYPER(f3) │ HYPER(f4) │ HYPER(f5) │               │ HYPER(f6) │ HYPER(f7) │ HYPER(f8) │ HYPER(f9) │ HYPER(f10) │     │
//    ├─────┼───────────┼───────────┼───────────┼───────────┼───────────┤               ├───────────┼───────────┼───────────┼───────────┼────────────┼─────┤
//    │     │           │           │           │           │           │               │           │           │           │           │            │     │
//    └─────┴───────────┴───────────┴───────────┼───────────┼───────────┼─────┐   ┌─────┼───────────┼───────────┼───────────┴───────────┴────────────┴─────┘
//                                              │           │           │     │   │     │           │           │
//                                              └───────────┴───────────┴─────┘   └─────┴───────────┴───────────┘
  &none   &kp HYPER(N1)   &kp HYPER(N2)   &kp HYPER(N3)   &kp HYPER(N4)   &kp HYPER(N5)                       &kp HYPER(N6)   &kp HYPER(N7)   &kp HYPER(N8)   &kp HYPER(N9)   &kp HYPER(N0)    &none
  &none   &kp HYPER(F1)   &kp HYPER(F2)   &kp HYPER(F3)   &kp HYPER(F4)   &kp HYPER(F5)                       &kp HYPER(F6)   &kp HYPER(F7)   &kp HYPER(F8)   &kp HYPER(F9)   &kp HYPER(F10)   &none
  &none   &none           &none           &none           &none           &none                               &none           &none           &none           &none           &none            &none
                                                          &none           &none           &none       &none   &none           &none
            >;
        };

        layer_Letters {
            display-name = "LTRS";
            bindings = <
//    ┌─────┬─────┬─────┬─────┬─────┬─────┐               ┌────────────┬─────┬─────┬─────┬─────┬─────┐
//    │     │     │     │     │     │     │               │            │     │     │     │     │     │
//    ├─────┼─────┼─────┼─────┼─────┼─────┤               ├────────────┼─────┼─────┼─────┼─────┼─────┤
//    │     │     │     │     │     │     │               │            │     │     │     │     │     │
//    ├─────┼─────┼─────┼─────┼─────┼─────┤               ├────────────┼─────┼─────┼─────┼─────┼─────┤
//    │     │     │     │     │     │     │               │ HYPER(f14) │     │     │     │     │     │
//    └─────┴─────┴─────┴─────┼─────┼─────┼─────┐   ┌─────┼────────────┼─────┼─────┴─────┴─────┴─────┘
//                            │     │     │     │   │     │            │     │
//                            └─────┴─────┴─────┘   └─────┴────────────┴─────┘
  &none    &none   &none   &none   &none    &none                          &none            &none    &none   &none   &none   &none
  &none    &none   &none   &none   &none    &none                          &none            &none    &none   &none   &none   &none
  &trans   &none   &none   &none   &none    &none                          &kp HYPER(F14)   &none    &none   &none   &none   &trans
                                   &trans   &trans   &trans       &trans   &trans           &trans
            >;
        };

        layer_Bluetooth {
            display-name = "BLUE";
            bindings = <
//    ┌─────┬─────┬─────┬─────┬─────┬─────┐               ┌────────┬─────────────────┬────────────────┬──────────┬──────────┬──────────┐
//    │     │     │     │     │     │     │               │        │ to laltYER_Base │ to laltYER_Nav │          │          │          │
//    ├─────┼─────┼─────┼─────┼─────┼─────┤               ├────────┼─────────────────┼────────────────┼──────────┼──────────┼──────────┤
//    │     │     │     │     │     │     │               │ bt_clr │    bt_sel 0     │    bt_sel 1    │ bt_sel 2 │ bt_sel 3 │ bt_sel 4 │
//    ├─────┼─────┼─────┼─────┼─────┼─────┤               ├────────┼─────────────────┼────────────────┼──────────┼──────────┼──────────┤
//    │     │     │     │     │     │     │               │        │                 │                │          │          │          │
//    └─────┴─────┴─────┴─────┼─────┼─────┼─────┐   ┌─────┼────────┼─────────────────┼────────────────┴──────────┴──────────┴──────────┘
//                            │     │     │     │   │     │        │                 │
//                            └─────┴─────┴─────┘   └─────┴────────┴─────────────────┘
  &trans   &trans   &trans   &trans   &trans   &trans                         &trans       &to LAYER_Base   &to LAYER_Nav   &trans         &trans         &trans
  &trans   &trans   &trans   &trans   &trans   &trans                         &bt BT_CLR   &bt BT_SEL 0     &bt BT_SEL 1    &bt BT_SEL 2   &bt BT_SEL 3   &bt BT_SEL 4
  &trans   &trans   &trans   &trans   &trans   &trans                         &trans       &trans           &trans          &trans         &trans         &trans
                                      &trans   &trans   &trans       &trans   &trans       &trans
            >;
        };

        layer_Numpad {
            display-name = "NUMB";
            bindings = <
//    ┌─────────┬─────┬─────┬─────┬─────┬─────┐               ┌─────┬─────┬───┬───┬─────┬─────────┐
//    │         │     │     │     │     │     │               │     │  7  │ 8 │ 9 │     │ lsft(8) │
//    ├─────────┼─────┼─────┼─────┼─────┼─────┤               ├─────┼─────┼───┼───┼─────┼─────────┤
//    │         │     │     │     │     │     │               │     │  4  │ 5 │ 6 │  .  │    -    │
//    ├─────────┼─────┼─────┼─────┼─────┼─────┤               ├─────┼─────┼───┼───┼─────┼─────────┤
//    │ lsft(=) │     │     │     │     │     │               │     │  1  │ 2 │ 3 │     │    =    │
//    └─────────┴─────┴─────┴─────┼─────┼─────┼─────┐   ┌─────┼─────┼─────┼───┴───┴─────┴─────────┘
//                                │     │     │     │   │     │  0  │     │
//                                └─────┴─────┴─────┘   └─────┴─────┴─────┘
  &trans          &none    &none    &trans   &none    &none                          &none    &kp N7   &kp N8   &kp N9   &none     &kp LS(N8)
  &none           &trans   &trans   &trans   &trans   &none                          &none    &kp N4   &kp N5   &kp N6   &kp DOT   &kp MINUS
  &kp LS(EQUAL)   &none    &none    &none    &none    &none                          &none    &kp N1   &kp N2   &kp N3   &none     &kp EQUAL
                                             &trans   &trans   &trans       &trans   &kp N0   &trans
            >;
        };

        layer_Touch {
            display-name = "TOUC";
            // 트랙패드에 손가락이 닿아 있는 동안만 자동으로 켜짐(키 트리거 없음).
            // 클릭을 엄지가 아니라 좌 home row s/d/f에 두는 이유:
            //  - 트랙패드가 우측 하프에 있어 접촉 중 자유로운 쪽은 왼손이다(우 포인팅 + 좌 클릭).
            //  - layer_Mouse가 이미 s/d/f = 중/우/좌클릭이라 손버릇 그대로 재사용.
            //  - 엄지(36~41)에 두면 SPACE·BSPC·RET가 접촉 중 클릭으로 바뀌어 오발동 위험이 크다.
            bindings = <
//    ┌─────┬─────┬──────┬──────┬──────┬─────┐               ┌─────┬─────┬─────┬─────┬─────┬─────┐
//    │     │     │      │      │      │     │               │     │     │     │     │     │     │
//    ├─────┼─────┼──────┼──────┼──────┼─────┤               ├─────┼─────┼─────┼─────┼─────┼─────┤
//    │     │     │ mclk │ rclk │ lclk │     │               │     │     │     │     │     │     │
//    ├─────┼─────┼──────┼──────┼──────┼─────┤               ├─────┼─────┼─────┼─────┼─────┼─────┤
//    │     │     │      │      │      │     │               │     │     │     │     │     │     │
//    └─────┴─────┴──────┴──────┼──────┼─────┼─────┐   ┌─────┼─────┼─────┼─────┴─────┴─────┴─────┘
//                              │      │     │     │   │     │     │     │
//                              └──────┴─────┴─────┘   └─────┴─────┴─────┘
  &trans   &trans   &trans      &trans      &trans      &trans                         &trans   &trans   &trans   &trans   &trans   &trans
  &trans   &trans   &mkp MCLK   &mkp RCLK   &mkp LCLK   &trans                         &trans   &trans   &trans   &trans   &trans   &trans
  &trans   &trans   &trans      &trans      &trans      &trans                         &trans   &trans   &trans   &trans   &trans   &trans
                                            &trans      &trans   &trans       &trans   &trans   &trans
            >;
        };

    };
};
